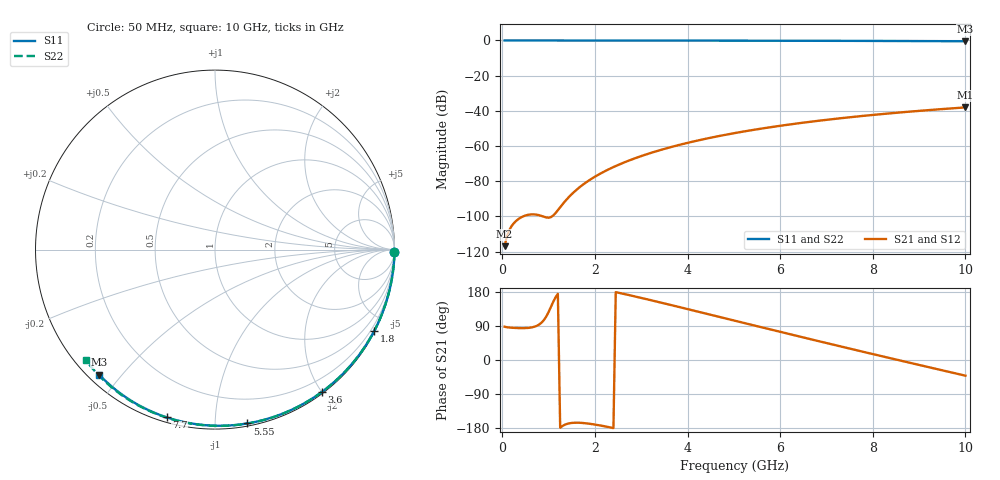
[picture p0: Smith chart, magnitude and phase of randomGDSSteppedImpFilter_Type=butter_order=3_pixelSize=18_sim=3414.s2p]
! freq	dB(S11)	phase(S11)	dB(S12)	phase(S12)
!  dB(S21)	phase(S21)	dB(S22)	phase(S22)
!S-par simulation data
#  GHz  S  DB  R 50
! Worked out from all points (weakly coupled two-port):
!   200 points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, 50 MHz to 10 GHz, reference 50 ohm
!   highest |S21| = -38.06 dB at 10 GHz (marker M1); lowest = -116.9 dB at 50 MHz (marker M2)
!   lowest |S11| = -0.4 dB at 10 GHz (marker M3), VSWR 38.67, Z = 1.54 - j21.8 ohm
!   |S11| at or under -10 dB: nowhere
!   |S22| runs from -0.5 to 0.0 dB; largest |S21 - S12| = 0
!   S11 on the Smith chart (normalised r, x): 50 MHz: open; 1.8 GHz: 0.04, -4.13; 3.6 GHz: 0.02, -2.00; 5.55 GHz: 0.02, -1.20; 7.7 GHz: 0.02, -0.75; 10 GHz: 0.03, -0.44
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0.05  -0.00 -0.8  -116.93 87.8  -116.93 87.8  -0.00 -0.8
0.45  -0.01 -6.9  -99.99 84.0  -99.99 84.0  -0.01 -7.3
0.9  -0.02 -13.7  -100.21 105.6  -100.21 105.6  -0.02 -14.4
1.75  -0.03 -26.5  -81.79 -166.4  -81.79 -166.4  -0.04 -27.8
1.8  -0.03 -27.2  -80.84 -167.0  -80.84 -167.0  -0.04 -28.6
1.85  -0.04 -28.0  -79.94 -167.7  -79.94 -167.7  -0.04 -29.4
2  -0.04 -30.2  -77.45 -170.3  -77.45 -170.3  -0.04 -31.7
2.15  -0.04 -32.4  -75.22 -173.6  -75.22 -173.6  -0.04 -34.0
2.35  -0.05 -35.3  -72.57 -178.4  -72.57 -178.4  -0.05 -37.1
2.55  -0.05 -38.2  -70.22 176.4  -70.22 176.4  -0.05 -40.2
2.95  -0.06 -44.0  -66.17 165.3  -66.17 165.3  -0.06 -46.2
3.4  -0.07 -50.4  -62.38 152.2  -62.38 152.2  -0.07 -52.9
3.6  -0.07 -53.2  -60.90 146.3  -60.90 146.3  -0.08 -55.9
4.3  -0.09 -62.9  -56.40 125.4  -56.40 125.4  -0.09 -66.0
5.05  -0.11 -72.9  -52.50 102.8  -52.50 102.8  -0.12 -76.5
5.55  -0.13 -79.5  -50.29 87.8  -50.29 87.8  -0.14 -83.4
6.1  -0.15 -86.5  -48.13 71.4  -48.13 71.4  -0.16 -90.7
6.7  -0.18 -94.0  -46.06 53.6  -46.06 53.6  -0.19 -98.6
7.7  -0.24 -106.1  -43.11 24.3  -43.11 24.3  -0.25 -111.3
8.35  -0.29 -113.8  -41.47 5.5  -41.47 5.5  -0.31 -119.4
9.2  -0.37 -123.7  -39.60 -18.7  -39.60 -18.7  -0.38 -129.8
10  -0.45 -132.8  -38.06 -41.4  -38.06 -41.4  -0.47 -139.5
